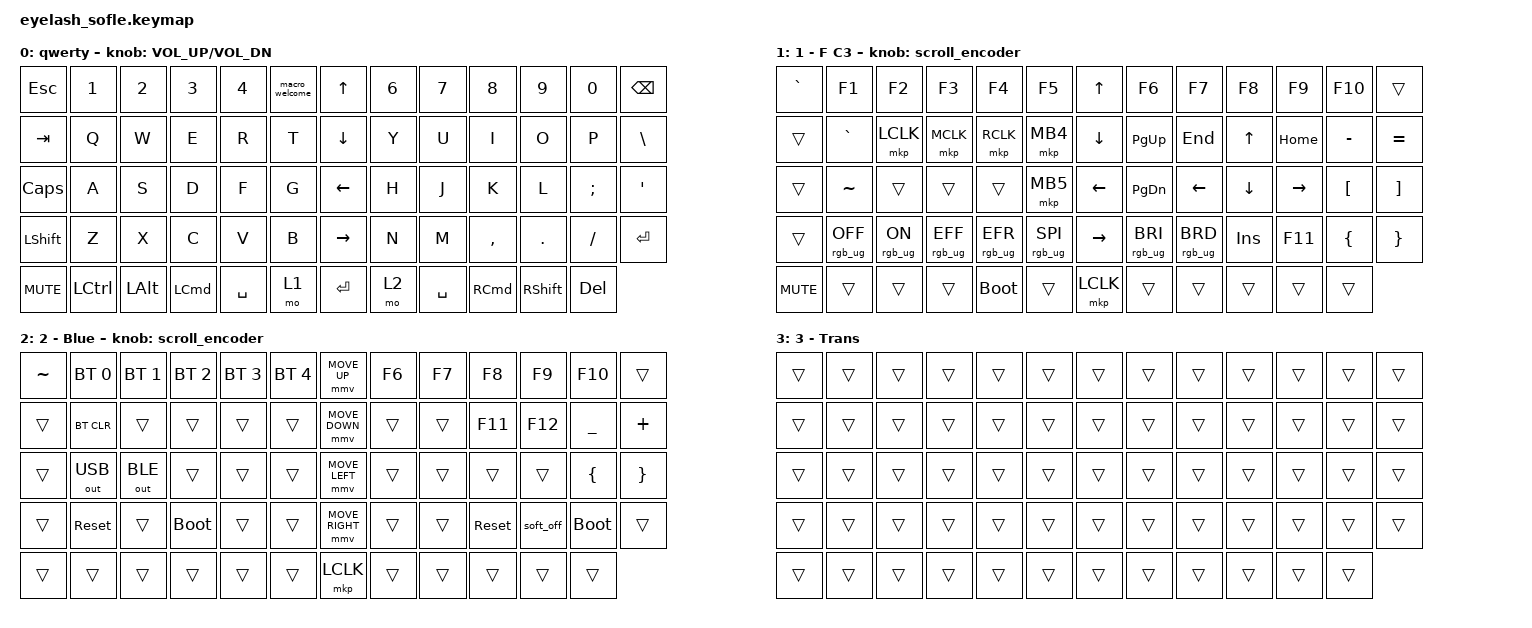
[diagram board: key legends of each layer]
#define ZMK_POINTING_DEFAULT_MOVE_VAL 1200  // 600
#define ZMK_POINTING_DEFAULT_SCRL_VAL 25   // 10

#include <input/processors.dtsi>
#include <zephyr/dt-bindings/input/input-event-codes.h>
#include <behaviors.dtsi>
#include <dt-bindings/zmk/bt.h>
#include <dt-bindings/zmk/ext_power.h>
#include <dt-bindings/zmk/keys.h>
#include <dt-bindings/zmk/pointing.h>
#include <dt-bindings/zmk/rgb.h>
#include <dt-bindings/zmk/outputs.h>

&mmv_input_listener { input-processors = <&zip_xy_scaler 2 1>; };

&msc_input_listener { input-processors = <&zip_scroll_scaler 2 1>; };

&msc {
    acceleration-exponent = <1>;      // 0
    time-to-max-speed-ms = <100>;     // 300
    delay-ms = <0>;                   // 0
};

&mmv {
    time-to-max-speed-ms = <500>;
    acceleration-exponent = <1>;
    trigger-period-ms = <16>;
};



/ {
    macros {
        welcome_macro: welcome_macro {
            label = "WELCOME";
            compatible = "zmk,behavior-macro";
            #binding-cells = <0>;
            bindings
                = <&macro_press &kp LSHFT>
                , <&macro_tap &kp W &kp E &kp L &kp C &kp O &kp M &kp E>
                , <&macro_release &kp LSHFT>
                ;
        };
    };

    scroll_encoder: scroll_encoder {
        compatible = "zmk,behavior-sensor-rotate";
        #sensor-binding-cells = <0>;
        bindings = <&msc SCRL_DOWN>, <&msc SCRL_UP>;
        tap-ms = <100>;
    };

    keymap {
        compatible = "zmk,keymap";

        layer0 {
            bindings = <
&kp ESC     &kp N1     &kp N2        &kp N3            &kp N4     &macro_welcome       &kp UP_ARROW     &kp N6      &kp N7      &kp N8               &kp N9           &kp N0      &kp BACKSPACE
&kp TAB     &kp Q      &kp W         &kp E             &kp R      &kp T        &kp DOWN_ARROW   &kp Y       &kp U       &kp I                &kp O            &kp P       &kp BSLH
&kp CAPS    &kp A      &kp S         &kp D             &kp F      &kp G        &kp LEFT_ARROW   &kp H       &kp J       &kp K                &kp L            &kp SEMI    &kp APOS
&kp LSHFT   &kp Z      &kp X         &kp C             &kp V      &kp B        &kp RIGHT_ARROW  &kp N       &kp M       &kp COMMA            &kp DOT          &kp FSLH    &kp ENTER
&kp C_MUTE  &kp LCTRL  &kp LEFT_ALT  &kp LEFT_COMMAND  &kp SPACE  &mo 1        &kp ENTER        &mo 2       &kp SPACE   &kp RIGHT_COMMAND    &kp RIGHT_SHIFT  &kp DELETE
            >;

            display-name = "qwerty";
            sensor-bindings = <&inc_dec_kp C_VOLUME_UP C_VOL_DN>;
        };

        layer_1 {
            display-name = "1 - F C3";

            bindings = <
&kp GRAVE   &kp F1           &kp F2          &kp F3           &kp F4                &kp F5             &kp UP_ARROW     &kp F6           &kp F7           &kp F8      &kp F9     &kp F10           &trans
&trans      &kp GRAVE        &mkp LCLK       &mkp MCLK        &mkp RCLK             &mkp MB4           &kp DOWN_ARROW   &kp PG_UP        &kp END          &kp UP      &kp HOME   &kp MINUS         &kp EQUAL
&trans      &kp TILDE        &trans          &trans           &trans                &mkp MB5           &kp LEFT_ARROW   &kp PG_DN        &kp LEFT         &kp DOWN    &kp RIGHT  &kp LEFT_BRACKET  &kp RIGHT_BRACKET
&trans      &rgb_ug RGB_OFF  &rgb_ug RGB_ON  &rgb_ug RGB_EFF  &rgb_ug RGB_EFR       &rgb_ug RGB_SPI    &kp RIGHT_ARROW  &rgb_ug RGB_BRI  &rgb_ug RGB_BRD  &kp INSERT  &kp F11    &kp LEFT_BRACE    &kp RIGHT_BRACE
&kp C_MUTE  &trans           &trans          &trans           &bootloader           &trans             &mkp LCLK        &trans           &trans           &trans      &trans     &trans
            >;

            sensor-bindings = <&scroll_encoder>;
        };

        layer_2 {
            display-name = "2 - Blue";
            
            bindings = <
&kp TILDE  &bt BT_SEL 0  &bt BT_SEL 1    &bt BT_SEL 2  &bt BT_SEL 3  &bt BT_SEL 4    &mmv MOVE_UP     &kp F6  &kp F7  &kp F8      &kp F9     &kp F10      &trans
&trans     &bt BT_CLR    &trans          &trans        &trans        &trans          &mmv MOVE_DOWN   &trans  &trans  &kp F11     &kp F12    &kp UNDER    &kp PLUS
&trans     &out OUT_USB  &out OUT_BLE    &trans        &trans        &trans          &mmv MOVE_LEFT   &trans  &trans  &trans      &trans     &kp LBRC     &kp RBRC
&trans     &sys_reset    &trans          &bootloader   &trans        &trans          &mmv MOVE_RIGHT  &trans  &trans  &sys_reset  &soft_off  &bootloader  &trans
&trans     &trans        &trans          &trans        &trans        &trans          &mkp LCLK        &trans  &trans  &trans      &trans     &trans
            >;

            sensor-bindings = <&scroll_encoder>;
        };

        layer_3 {
            display-name = "3 - Trans";

            bindings = <
&trans  &trans  &trans  &trans  &trans  &trans    &trans  &trans  &trans  &trans  &trans  &trans  &trans
&trans  &trans  &trans  &trans  &trans  &trans    &trans  &trans  &trans  &trans  &trans  &trans  &trans
&trans  &trans  &trans  &trans  &trans  &trans    &trans  &trans  &trans  &trans  &trans  &trans  &trans
&trans  &trans  &trans  &trans  &trans  &trans    &trans  &trans  &trans  &trans  &trans  &trans  &trans
&trans  &trans  &trans  &trans  &trans  &trans    &trans  &trans  &trans  &trans  &trans  &trans
            >;
        };
    };
};
